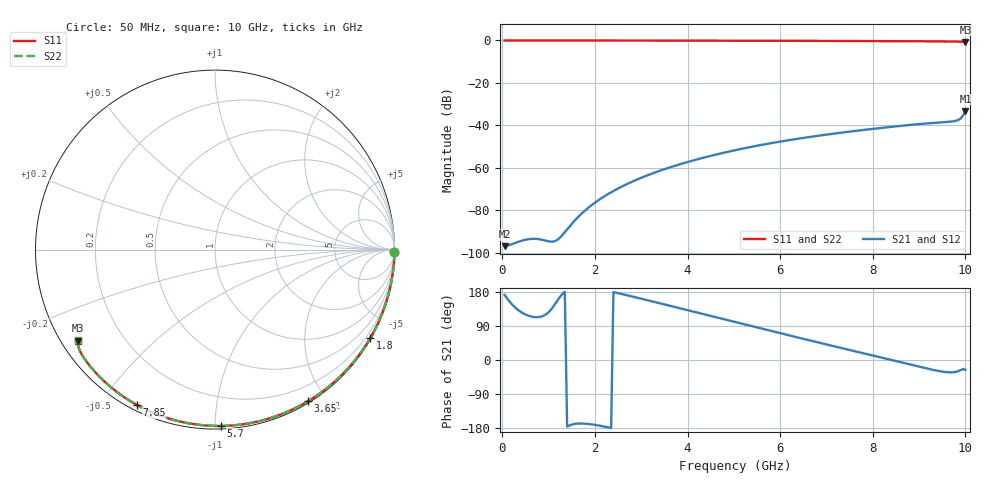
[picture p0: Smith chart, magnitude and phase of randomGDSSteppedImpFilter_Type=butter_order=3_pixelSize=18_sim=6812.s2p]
! freq	dB(S11)	phase(S11)	dB(S12)	phase(S12)
!  dB(S21)	phase(S21)	dB(S22)	phase(S22)
!S-par simulation data
#  GHz  S  DB  R 50
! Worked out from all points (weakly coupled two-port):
!   200 points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, 50 MHz to 10 GHz, reference 50 ohm
!   highest |S21| = -33.18 dB at 10 GHz (marker M1); lowest = -96.9 dB at 50 MHz (marker M2)
!   lowest |S11| = -0.8 dB at 10 GHz (marker M3), VSWR 23.17, Z = 2.35 - j15.1 ohm
!   |S11| at or under -10 dB: nowhere
!   |S22| runs from -0.8 to 0.0 dB; largest |S21 - S12| = 0
!   S11 on the Smith chart (normalised r, x): 50 MHz: open; 1.8 GHz: 0.03, -3.78; 3.65 GHz: 0.02, -1.79; 5.7 GHz: 0.02, -1.03; 7.85 GHz: 0.02, -0.62; 10 GHz: 0.05, -0.30
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0.05  -0.00 -0.8  -96.89 171.7  -96.89 171.7  -0.00 -0.8
0.9  -0.02 -15.0  -94.09 117.2  -94.09 117.2  -0.02 -14.9
1.75  -0.04 -28.8  -80.80 -167.8  -80.80 -167.8  -0.04 -28.8
1.8  -0.04 -29.6  -79.83 -168.2  -79.83 -168.2  -0.04 -29.6
2.1  -0.04 -34.4  -74.88 -173.3  -74.88 -173.3  -0.04 -34.4
2.3  -0.05 -37.6  -72.14 -178.2  -72.14 -178.2  -0.05 -37.6
2.5  -0.05 -40.8  -69.72 176.4  -69.72 176.4  -0.05 -40.8
2.9  -0.06 -47.0  -65.60 164.8  -65.60 164.8  -0.06 -47.0
3.4  -0.07 -54.7  -61.39 149.7  -61.39 149.7  -0.07 -54.7
3.65  -0.08 -58.5  -59.57 142.2  -59.57 142.2  -0.08 -58.5
4.3  -0.10 -68.2  -55.46 122.4  -55.46 122.4  -0.10 -68.2
5.05  -0.12 -79.0  -51.58 99.6  -51.58 99.6  -0.12 -79.0
5.7  -0.15 -88.1  -48.78 79.9  -48.78 79.9  -0.15 -88.1
6.7  -0.20 -101.7  -45.26 49.9  -45.26 49.9  -0.20 -101.7
7.85  -0.28 -116.8  -42.02 16.2  -42.02 16.2  -0.28 -116.8
8.35  -0.32 -123.2  -40.79 1.5  -40.79 1.5  -0.32 -123.2
9.15  -0.40 -133.6  -39.12 -22.0  -39.12 -22.0  -0.40 -133.6
9.75  -0.50 -142.0  -38.04 -32.2  -38.04 -32.2  -0.50 -142.0
9.85  -0.55 -143.6  -37.41 -29.3  -37.41 -29.3  -0.55 -143.7
9.9  -0.59 -144.5  -36.70 -26.5  -36.70 -26.5  -0.60 -144.6
9.95  -0.65 -145.5  -35.38 -24.0  -35.38 -24.0  -0.67 -145.5
10  -0.75 -146.4  -33.18 -25.8  -33.18 -25.8  -0.78 -146.4
